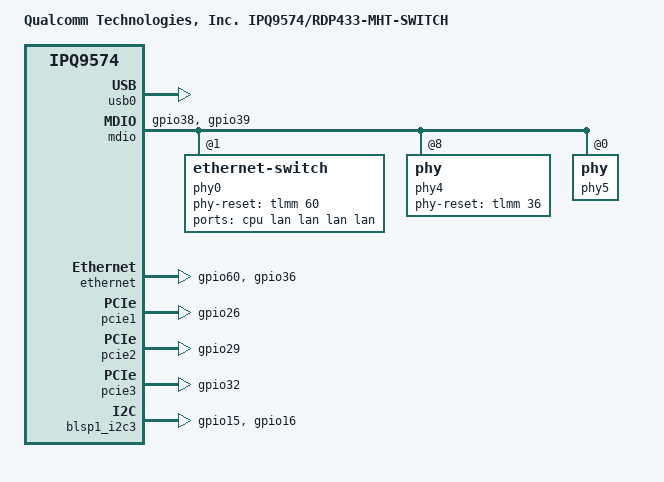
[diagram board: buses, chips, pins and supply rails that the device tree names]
// SPDX-License-Identifier: GPL-2.0-only
/*
 * Copyright (c) Qualcomm Technologies, Inc. and/or its subsidiaries.
 */

/dts-v1/;

#include "ipq9574-rdp-common.dtsi"
#include "ipq9574-rdp-common-ub.dtsi"

/ {
	model = "Qualcomm Technologies, Inc. IPQ9574/RDP433-MHT-SWITCH";
	compatible = "qcom,ipq9574-rdp433-mht-switch", "qcom,ipq9574";

	soc@0 {
		qmp_ssphy_0: ssphy@7D000 {
			status = "okay";
		};

		qusb2_phy_0: qusb2@7B000 {
			status = "okay";
		};

		usb0: usb@8af8800 {
			status = "okay";

			dwc3@8a00000 {
				phys = <&qusb2_phy_0>, <&qmp_ssphy_0>;
				phy-names = "usb2-phy", "usb3-phy";
				maximum-speed = "super-speed";
			};
		};

		mdio: mdio@90000 {
			pinctrl-names = "default";
			pinctrl-0 = <&mdio_pinmux>;
			status = "okay";

			phy0: ethernet-switch@1 {
				phy-reset-gpio = <&tlmm 60 0>;
				dev-mode = <0x1>;
				phy_addr = <1>;
				phy_type = <QCA8x8x_SWITCH_TYPE>;
				id = <1>;
				uniphy_id = <0>;
				uniphy_type = <0>;
				max_speed = <2500>;
				force-speed;
				xgmac;
				ports {
					#address-cells = <1>;
					#size-cells = <0>;

					port0: port@0 {
						phy_addr = <0>;
						label = "cpu";
						phy-mode = "2500base-x";
						fixed-link {
							speed = <2500>;
							full-duplex;
						};
					};

					port1: port@1 {
						phy_addr = <1>;
						label = "lan";
					};

					port2: port@2 {
						phy_addr = <2>;
						label = "lan";
					};

					port3: port@3 {
						phy_addr = <3>;
						label = "lan";
					};

					port4: port@4 {
						phy_addr = <4>;
						label = "lan";
					};
				};
			};

			phy4: phy@8 {
				phy-reset-gpio = <&tlmm 36 0>;
				phy_addr = <8>;
				phy_type = <AQ_PHY_TYPE>;
				phy-mode = "usxgmii";
				id = <5>;
				uniphy_id = <1>;
				uniphy_type = <1>;
				xgmac;
			};

			phy5: phy@0 {
				phy_addr = <0>;
				phy_type = <AQ_PHY_TYPE>;
				phy-mode = "usxgmii";
				id = <6>;
				uniphy_id = <2>;
				uniphy_type = <0>;
				xgmac;
			};
		};

		ethernet: nss-switch {
			pinctrl-names = "default";
			pinctrl-0 = <&phy_rst_pinmux>;
			phy-handle0 = <&phy0>;
			phy-handle4 = <&phy4>;
			phy-handle5 = <&phy5>;
			status = "okay";
		};

		pcie1: pci@10000000 {
			pinctrl-names = "default";
			pinctrl-0 = <&pci1_pin>;
			status = "okay";
			perst-gpios = <&tlmm 26 GPIO_ACTIVE_LOW>;
		};

		pcie2: pci@20000000 {
			pinctrl-names = "default";
			pinctrl-0 = <&pci2_pin>;
			status = "okay";
			perst-gpios = <&tlmm 29 GPIO_ACTIVE_LOW>;
		};

		pcie3: pci@18000000 {
			pinctrl-names = "default";
			pinctrl-0 = <&pci3_pin>;
			status = "okay";
			perst-gpios = <&tlmm 32 GPIO_ACTIVE_LOW>;
		};
	};
};

&blsp1_i2c3 {
	pinctrl-names = "default";
	pinctrl-0 = <&blsp1_i2c3_pinmux>;
	status = "okay";
};

&tlmm {
	mdio_pinmux: mdio {
		mdc {
			pins = "gpio38";
			function = "mdc";
			drive-strength = <8>;
			bias-disable;
		};

		mdio {
			pins = "gpio39";
			function = "mdio";
			drive-strength = <8>;
			bias-pull-up;
		};
	};

	phy_rst_pinmux: phy_rst {
		qti_8x8x_rst {
			pins = "gpio60";
			drive-strength = <8>;
			bias-pull-up;
		};

		qti_aquantia_rst {
			pins = "gpio36";
			drive-strength = <8>;
			bias-pull-up;
		};
	};

	pci1_pin: pci1-default-state {
		pins = "gpio26";
		function = "gpio";
		drive-strength = <8>;
		bias-pull-up;
		output-low;
	};

	pci2_pin: pci2-default-state {
		pins = "gpio29";
		function = "gpio";
		drive-strength = <8>;
		bias-pull-down;
		output-low;
	};

	pci3_pin: pci3-default-state {
		pins = "gpio32";
		function = "gpio";
		drive-strength = <8>;
		bias-pull-up;
		output-low;
	};

	blsp1_i2c3_pinmux: blsp_i2c3_pins {
		blsp3_scl {
			pins = "gpio15";
			function = "blsp3_i2c";
			drive-strength = <8>;
			bias-pull-up;
		};

		blsp3_sda {
			pins = "gpio16";
			function = "blsp3_i2c";
			drive-strength = <8>;
			bias-pull-up;
		};
	};
};
